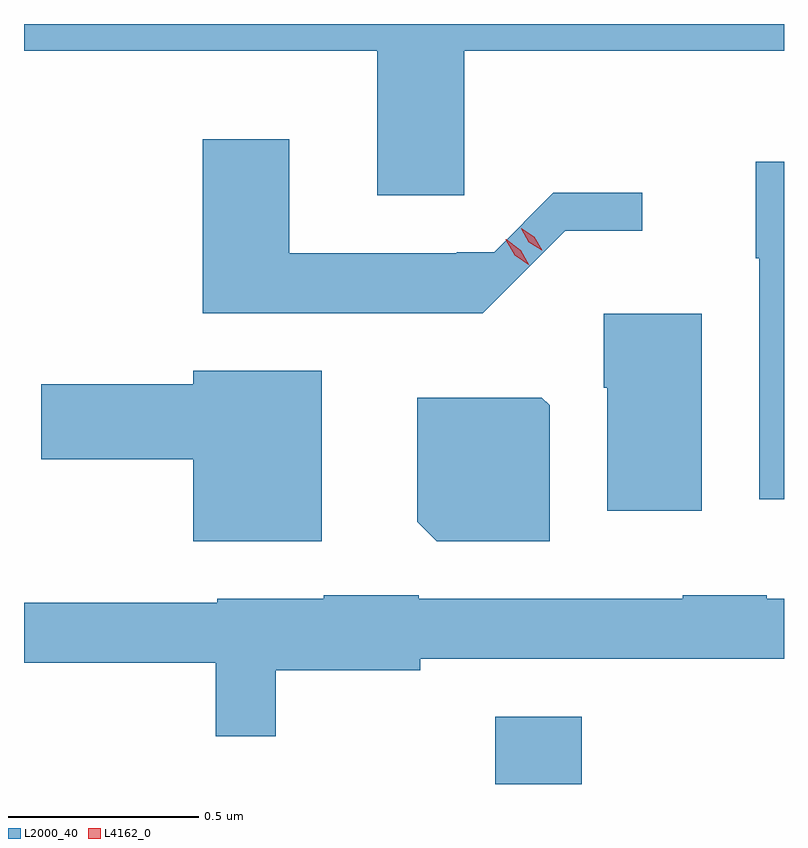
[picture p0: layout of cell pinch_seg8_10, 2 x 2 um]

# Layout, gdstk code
import gdstk
lib = gdstk.Library(unit=1e-6, precision=1e-09)
def R(c, l, rs):  # rectangles x0, y0, x1, y1
    for r in rs: c.add(gdstk.rectangle(r[:2], r[2:], *l))
def P(c, l, *ps):  # polygons
    for p in ps: c.add(gdstk.Polygon(p, *l))
L2000_40 = (2000, 40)
L4162_0 = (4162, 0)

pinch_seg8_10 = lib.new_cell('pinch_seg8_10')
R(pinch_seg8_10, L2000_40, [(1795.991,1845.587,1796.219,1845.764)])
P(pinch_seg8_10, L2000_40, [(1795.909,1847.516),(1796.751,1847.516),(1796.751,1847.587),(1794.751,1847.587),(1794.751,1847.516),(1795.681,1847.516),(1795.681,1847.136),(1795.909,1847.136)],
  [(1796.175,1847.043),(1796.378,1847.043),(1796.378,1847.143),(1796.144,1847.143),(1795.988,1846.986),(1795.89,1846.986),(1795.89,1846.984),(1795.449,1846.984),(1795.449,1847.284),(1795.221,1847.284),(1795.221,1846.826),(1795.958,1846.826)],
  [(1796.751,1847.224),(1796.676,1847.224),(1796.676,1846.97),(1796.686,1846.97),(1796.686,1846.336),(1796.751,1846.336)],
  [(1796.534,1846.824),(1796.276,1846.824),(1796.276,1846.63),(1796.286,1846.63),(1796.286,1846.306),(1796.534,1846.306)],
  [(1795.534,1846.674),(1795.196,1846.674),(1795.196,1846.639),(1794.796,1846.639),(1794.796,1846.441),(1795.196,1846.441),(1795.196,1846.226),(1795.534,1846.226)],
  [(1796.134,1846.584),(1796.114,1846.604),(1795.786,1846.604),(1795.786,1846.277),(1795.837,1846.226),(1796.134,1846.226)],
  [(1795.414,1845.886),(1795.794,1845.886),(1795.794,1845.916),(1796.751,1845.916),(1796.751,1846.074),(1796.705,1846.074),(1796.705,1846.084),(1796.485,1846.084),(1796.485,1846.074),(1795.79,1846.074),(1795.79,1846.084),(1795.54,1846.084),(1795.54,1846.074),(1795.26,1846.074),(1795.26,1846.064),(1794.751,1846.064),(1794.751,1845.906),(1795.256,1845.906),(1795.256,1845.713),(1795.414,1845.713)])
P(pinch_seg8_10, L4162_0, [(1796.08,1846.952),(1796.042,1846.979),(1796.019,1847.019),(1796.019,1847.02),(1796.02,1847.02),(1796.058,1846.992),(1796.081,1846.952),(1796.081,1846.952)],
  [(1796.114,1846.991),(1796.079,1847.013),(1796.059,1847.048),(1796.059,1847.049),(1796.059,1847.049),(1796.094,1847.027),(1796.115,1846.992),(1796.115,1846.991)])

lib.write_gds('pinch_seg8_10.gds')
